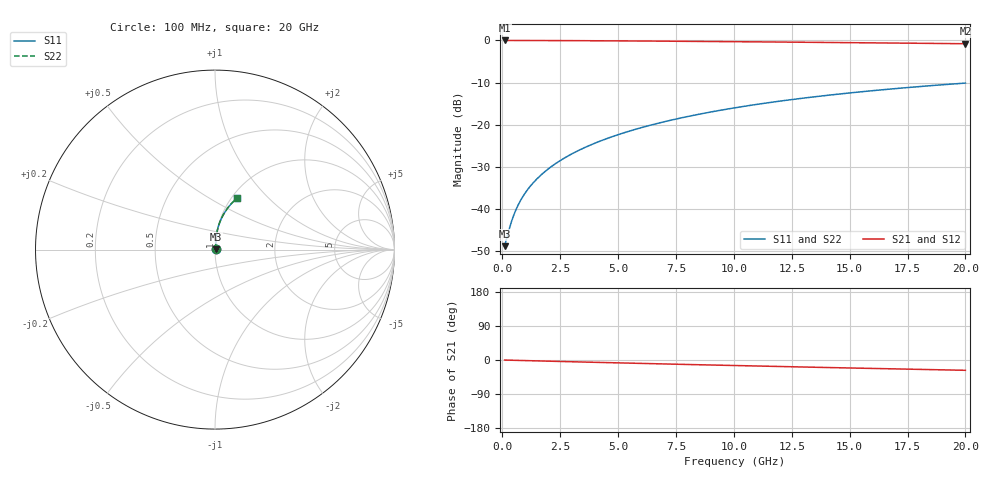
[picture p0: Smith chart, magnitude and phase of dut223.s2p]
! Touchstone file exported from HFSS 2024.1.0
!  File:  C:/UserFiles/LocalFiles/RDL_TSV_Batchsim/temp_RDL_top_223_1778687826.aedt
!  Generated:  11:59:37 PM May 13, 2026
!  Design:  RDL_top
!  Project:  temp_RDL_top_223_1778687826
!  Setup:  Setup1
!  Solution:  Sweep
! Variables:
!  dtsv = 10.80580581um
!  hbump = 3um
!  htsv = 54.46um
!  ldown = 100um
!  lrdl = 322.54um
!  p = 40
!  p1 = 52.54um
!  rhole = 1um
!  t = 450um
!  tdown = 3.915915916um
!  trdl = 2.01um
!  wdown = 15.38538539um
!  wrdl = 19.48um
# GHz S MA R 50.000000
! Terminal data exported
! Port[1] = Box2_T1
! Port[2] = Box2_T2
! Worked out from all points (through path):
!   200 points, 100 MHz to 20 GHz, reference 50 ohm
!   highest |S21| = -0.03 dB at 100 MHz (marker M1); lowest = -0.8 dB at 20 GHz (marker M2)
!   group delay of S21, straight-line fit = 3.76 ps
!   lowest |S11| = -48.8 dB at 100 MHz (marker M3), VSWR 1.01, Z = 50.3 + j0.16 ohm
!   |S11| at or under -10 dB: start of sweep to end of sweep
!   |S22| runs from -48.8 to -10.1 dB; largest |S21 - S12| = 2.2e-15
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0.1  0.003645 25.9  0.9967 -0.2  0.9967 -0.2  0.003645 25.9
! Gamma 0 0 0 0
! Port Impedance 50 0 50 0
0.3  0.005823 54.4  0.9966 -0.5  0.9966 -0.5  0.005823 54.4
0.4  0.007173 61.0  0.9965 -0.6  0.9965 -0.6  0.007173 61.0
0.5  0.008572 65.4  0.9963 -0.8  0.9963 -0.8  0.008573 65.4
0.6  0.009991 68.6  0.9962 -1.0  0.9962 -1.0  0.009992 68.6
0.7  0.01142 70.9  0.9961 -1.1  0.9961 -1.1  0.01142 70.9
0.9  0.01428 74.2  0.9958 -1.4  0.9958 -1.4  0.01428 74.2
1.2  0.01858 77.3  0.9954 -1.9  0.9954 -1.9  0.01858 77.3
1.4  0.02146 78.7  0.9951 -2.2  0.9951 -2.2  0.02146 78.7
1.7  0.02581 80.3  0.9946 -2.7  0.9946 -2.7  0.02582 80.3
2.2  0.03316 82.0  0.9936 -3.4  0.9936 -3.4  0.03316 82.0
2.8  0.04212 83.2  0.9923 -4.3  0.9923 -4.3  0.04212 83.2
3.5  0.05278 83.9  0.9905 -5.4  0.9905 -5.4  0.05278 83.9
4.2  0.06364 84.2  0.9883 -6.4  0.9883 -6.4  0.06364 84.2
5  0.07627 84.1  0.9856 -7.6  0.9856 -7.6  0.07627 84.1
5.9  0.09073 83.7  0.9822 -8.9  0.9822 -8.9  0.09073 83.7
6.8  0.1054 83.1  0.9786 -10.2  0.9786 -10.2  0.1054 83.1
8.4  0.1317 81.6  0.9717 -12.4  0.9717 -12.4  0.1317 81.6
10.1  0.1597 79.7  0.9639 -14.7  0.9639 -14.7  0.1597 79.7
13.4  0.2131 75.4  0.9476 -19.0  0.9476 -19.0  0.2131 75.4
16.7  0.264 71.1  0.9301 -23.2  0.9301 -23.2  0.264 71.1
20  0.3117 66.8  0.9116 -27.2  0.9116 -27.2  0.3117 66.8
